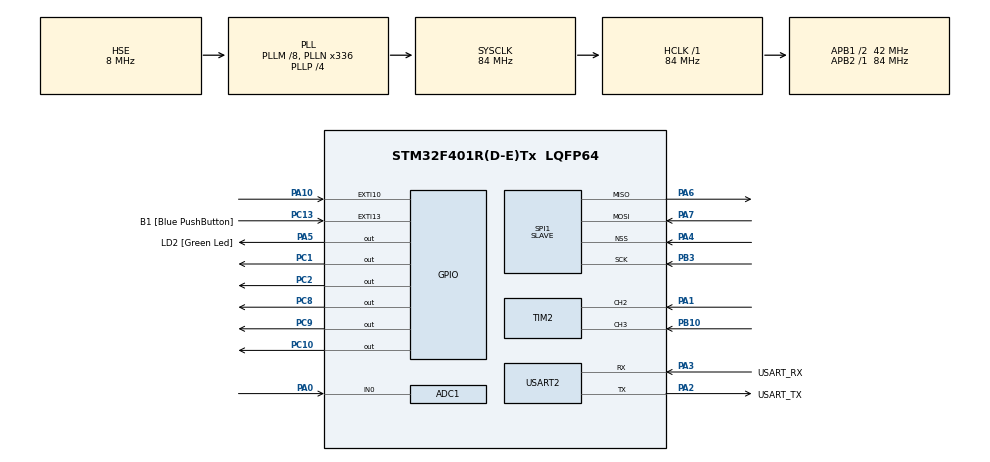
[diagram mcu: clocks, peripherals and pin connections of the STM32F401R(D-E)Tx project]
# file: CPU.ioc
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ADC1.Channel-0\#ChannelRegularConversion=ADC_CHANNEL_0
ADC1.Channel-27\#ChannelRegularConversion=ADC_CHANNEL_0
ADC1.ClockPrescaler=ADC_CLOCK_SYNC_PCLK_DIV4
ADC1.ContinuousConvMode=DISABLE
ADC1.DMAContinuousRequests=ENABLE
ADC1.DataAlign=ADC_DATAALIGN_RIGHT
ADC1.DiscontinuousConvMode=DISABLE
ADC1.EOCSelection=ADC_EOC_SINGLE_CONV
ADC1.EnableAnalogWatchDog=false
ADC1.ExternalTrigConv=ADC_SOFTWARE_START
ADC1.ExternalTrigConvEdge=ADC_EXTERNALTRIGCONVEDGE_NONE
ADC1.InjNumberOfConversion=0
ADC1.NbrOfConversion=2
ADC1.NbrOfConversionFlag=1
ADC1.Rank-0\#ChannelRegularConversion=1
ADC1.Rank-27\#ChannelRegularConversion=2
ADC1.Resolution=ADC_RESOLUTION_12B
ADC1.SamplingTime-0\#ChannelRegularConversion=ADC_SAMPLETIME_3CYCLES
ADC1.SamplingTime-27\#ChannelRegularConversion=ADC_SAMPLETIME_3CYCLES
ADC1.ScanConvMode=DISABLE
ADC1.master=1
Dma.ADC1.0.Direction=DMA_PERIPH_TO_MEMORY
Dma.ADC1.0.FIFOMode=DMA_FIFOMODE_DISABLE
Dma.ADC1.0.Instance=DMA2_Stream0
Dma.ADC1.0.MemDataAlignment=DMA_MDATAALIGN_HALFWORD
Dma.ADC1.0.MemInc=DMA_MINC_ENABLE
Dma.ADC1.0.Mode=DMA_NORMAL
Dma.ADC1.0.PeriphDataAlignment=DMA_PDATAALIGN_HALFWORD
Dma.ADC1.0.PeriphInc=DMA_PINC_DISABLE
Dma.ADC1.0.Priority=DMA_PRIORITY_LOW
Dma.Request0=ADC1
Dma.Request1=SPI1_RX
Dma.Request2=SPI1_TX
Dma.SPI1_RX.1.Direction=DMA_PERIPH_TO_MEMORY
Dma.SPI1_RX.1.FIFOMode=DMA_FIFOMODE_DISABLE
Dma.SPI1_RX.1.Instance=DMA2_Stream2
Dma.SPI1_RX.1.MemDataAlignment=DMA_MDATAALIGN_HALFWORD
Dma.SPI1_RX.1.MemInc=DMA_MINC_ENABLE
Dma.SPI1_RX.1.Mode=DMA_NORMAL
Dma.SPI1_RX.1.PeriphDataAlignment=DMA_PDATAALIGN_HALFWORD
Dma.SPI1_RX.1.PeriphInc=DMA_PINC_DISABLE
Dma.SPI1_RX.1.Priority=DMA_PRIORITY_LOW
Dma.SPI1_TX.2.Direction=DMA_MEMORY_TO_PERIPH
Dma.SPI1_TX.2.FIFOMode=DMA_FIFOMODE_DISABLE
Dma.SPI1_TX.2.Instance=DMA2_Stream3
Dma.SPI1_TX.2.MemDataAlignment=DMA_MDATAALIGN_HALFWORD
Dma.SPI1_TX.2.MemInc=DMA_MINC_ENABLE
Dma.SPI1_TX.2.Mode=DMA_NORMAL
Dma.SPI1_TX.2.PeriphDataAlignment=DMA_PDATAALIGN_HALFWORD
Dma.SPI1_TX.2.PeriphInc=DMA_PINC_DISABLE
Dma.SPI1_TX.2.Priority=DMA_PRIORITY_LOW
Mcu.Family=STM32F4
Mcu.Name=STM32F401R(D-E)Tx
Mcu.Package=LQFP64
NVIC.DMA2_Stream0_IRQn=true\:0\:0\:false\:false\:true\:false
NVIC.DMA2_Stream2_IRQn=true\:0\:0\:false\:false\:true\:false
NVIC.DMA2_Stream3_IRQn=true\:0\:0\:false\:false\:true\:false
NVIC.EXTI15_10_IRQn=true\:0\:0\:false\:false\:true\:true
NVIC.PriorityGroup=NVIC_PRIORITYGROUP_0
NVIC.TIM2_IRQn=true\:0\:0\:false\:false\:true\:true
NVIC.TIM5_IRQn=true\:0\:0\:false\:false\:true\:true
PA0-WKUP.Signal=ADCx_IN0
PA1.Signal=S_TIM2_CH2
PA10.Signal=GPXTI10
PA2.GPIO_Label=USART_TX
PA2.GPIO_Mode=GPIO_MODE_AF_PP
PA2.GPIO_PuPd=GPIO_NOPULL
PA2.GPIO_Speed=GPIO_SPEED_FREQ_LOW
PA2.Mode=Asynchronous
PA2.Signal=USART2_TX
PA3.GPIO_Label=USART_RX
PA3.GPIO_Mode=GPIO_MODE_AF_PP
PA3.GPIO_PuPd=GPIO_NOPULL
PA3.GPIO_Speed=GPIO_SPEED_FREQ_LOW
PA3.Mode=Asynchronous
PA3.Signal=USART2_RX
PA4.Mode=NSS_Signal_Hard_Input
PA4.Signal=SPI1_NSS
PA5.GPIO_Label=LD2 [Green Led]
PA5.GPIO_Mode=GPIO_MODE_OUTPUT_PP
PA5.GPIO_PuPd=GPIO_NOPULL
PA5.GPIO_Speed=GPIO_SPEED_FREQ_LOW
PA5.Signal=GPIO_Output
PA6.Mode=Full_Duplex_Slave
PA6.Signal=SPI1_MISO
PA7.Mode=Full_Duplex_Slave
PA7.Signal=SPI1_MOSI
PB10.Signal=S_TIM2_CH3
PB3.Mode=Full_Duplex_Slave
PB3.Signal=SPI1_SCK
PC1.Signal=GPIO_Output
PC10.Signal=GPIO_Output
PC13-ANTI_TAMP.GPIO_Label=B1 [Blue PushButton]
PC13-ANTI_TAMP.GPIO_ModeDefaultEXTI=GPIO_MODE_IT_FALLING
PC13-ANTI_TAMP.GPIO_PuPd=GPIO_NOPULL
PC13-ANTI_TAMP.Signal=GPXTI13
PC14-OSC32_IN.Mode=LSE-External-Oscillator
PC14-OSC32_IN.Signal=RCC_OSC32_IN
PC15-OSC32_OUT.Mode=LSE-External-Oscillator
PC15-OSC32_OUT.Signal=RCC_OSC32_OUT
PC2.Signal=GPIO_Output
PC8.Signal=GPIO_Output
PC9.Signal=GPIO_Output
PH0\ -\ OSC_IN.Mode=HSE-External-Clock-Source
PH0\ -\ OSC_IN.Signal=RCC_OSC_IN
PH1\ -\ OSC_OUT.Mode=HSE-External-Clock-Source
PH1\ -\ OSC_OUT.Signal=RCC_OSC_OUT
ProjectManager.HeapSize=0x200
ProjectManager.StackSize=0x400
ProjectManager.TargetToolchain=SW4STM32
RCC.48MHZClocksFreq_Value=48000000
RCC.AHBFreq_Value=84000000
RCC.APB1CLKDivider=RCC_HCLK_DIV2
RCC.APB1Freq_Value=42000000
RCC.APB1TimFreq_Value=84000000
RCC.APB2Freq_Value=84000000
RCC.APB2TimFreq_Value=84000000
RCC.CortexFreq_Value=84000000
RCC.HCLKFreq_Value=84000000
RCC.HSE_VALUE=8000000
RCC.HSI_VALUE=16000000
RCC.PLLM=8
RCC.PLLN=336
RCC.PLLP=RCC_PLLP_DIV4
RCC.PLLQ=7
RCC.PLLSourceVirtual=RCC_PLLSOURCE_HSE
RCC.SYSCLKFreq_VALUE=84000000
RCC.SYSCLKSource=RCC_SYSCLKSOURCE_PLLCLK
RCC.VCOOutputFreq_Value=336000000
SH.ADCx_IN0.0=ADC1_IN0,IN0
SH.S_TIM2_CH2.0=TIM2_CH2,Input_Capture2_from_TI2
SH.S_TIM2_CH3.0=TIM2_CH3,Input_Capture3_from_TI3
SPI1.DataSize=SPI_DATASIZE_16BIT
SPI1.Direction=SPI_DIRECTION_2LINES
SPI1.Mode=SPI_MODE_SLAVE
SPI1.VirtualNSS=VM_NSSHARD
SPI1.VirtualType=VM_SLAVE
TIM2.Channel-Input_Capture2_from_TI2=TIM_CHANNEL_2
TIM2.Channel-Input_Capture3_from_TI3=TIM_CHANNEL_3
USART2.VirtualMode=VM_ASYNC
VP_TIM2_VS_ClockSourceINT.Mode=Internal
VP_TIM5_VS_ClockSourceINT.Mode=Internal
board=NUCLEO-F401RE

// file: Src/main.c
/**
  ******************************************************************************
  * @file           : main.c
  * @brief          : Main program body
  ******************************************************************************
  ** This notice applies to any and all portions of this file
  * that are not between comment pairs USER CODE BEGIN and
  * USER CODE END. Other portions of this file, whether
  * inserted by the user or by software development tools
  * are owned by their respective copyright owners.
  *
  * COPYRIGHT(c) 2018 STMicroelectronics
  *
  * Redistribution and use in source and binary forms, with or without modification,
  * are permitted provided that the following conditions are met:
  *   1. Redistributions of source code must retain the above copyright notice,
  *      this list of conditions and the following disclaimer.
  *   2. Redistributions in binary form must reproduce the above copyright notice,
  *      this list of conditions and the following disclaimer in the documentation
  *      and/or other materials provided with the distribution.
  *   3. Neither the name of STMicroelectronics nor the names of its contributors
  *      may be used to endorse or promote products derived from this software
  *      without specific prior written permission.
  *
  * THIS SOFTWARE IS PROVIDED BY THE COPYRIGHT HOLDERS AND CONTRIBUTORS "AS IS"
  * AND ANY EXPRESS OR IMPLIED WARRANTIES, INCLUDING, BUT NOT LIMITED TO, THE
  * IMPLIED WARRANTIES OF MERCHANTABILITY AND FITNESS FOR A PARTICULAR PURPOSE ARE
  * DISCLAIMED. IN NO EVENT SHALL THE COPYRIGHT HOLDER OR CONTRIBUTORS BE LIABLE
  * FOR ANY DIRECT, INDIRECT, INCIDENTAL, SPECIAL, EXEMPLARY, OR CONSEQUENTIAL
  * DAMAGES (INCLUDING, BUT NOT LIMITED TO, PROCUREMENT OF SUBSTITUTE GOODS OR
  * SERVICES; LOSS OF USE, DATA, OR PROFITS; OR BUSINESS INTERRUPTION) HOWEVER
  * CAUSED AND ON ANY THEORY OF LIABILITY, WHETHER IN CONTRACT, STRICT LIABILITY,
  * OR TORT (INCLUDING NEGLIGENCE OR OTHERWISE) ARISING IN ANY WAY OUT OF THE USE
  * OF THIS SOFTWARE, EVEN IF ADVISED OF THE POSSIBILITY OF SUCH DAMAGE.
  *
  ******************************************************************************
  */
#include "main.h"
#include "stm32f4xx_hal.h"

ADC_HandleTypeDef hadc1;
DMA_HandleTypeDef hdma_adc1;

SPI_HandleTypeDef hspi1;
DMA_HandleTypeDef hdma_spi1_rx;
DMA_HandleTypeDef hdma_spi1_tx;

TIM_HandleTypeDef htim2;
TIM_HandleTypeDef htim5;

UART_HandleTypeDef huart2;

/* USER CODE BEGIN PV */
/* Private variables ---------------------------------------------------------*/
uint16_t ADCReadings[2]; //ADC Readings
uint8_t SPIReadings[1]; //ADC Readings
char message[] = "Hello, World";
uint8_t data_out1=0;
uint8_t completed1 = 1;
uint8_t input = 0;
uint32_t received = 0;

uint8_t sent[4];

/* USER CODE END PV */

void SystemClock_Config(void);
static void MX_GPIO_Init(void);
static void MX_DMA_Init(void);
static void MX_TIM2_Init(void);
static void MX_TIM5_Init(void);
static void MX_USART2_UART_Init(void);
static void MX_ADC1_Init(void);
static void MX_SPI1_Init(void);

/* USER CODE BEGIN PFP */
/* Private function prototypes -----------------------------------------------*/

/* USER CODE END PFP */

int main(void)
{

  /* MCU Configuration----------------------------------------------------------*/

  /* Reset of all peripherals, Initializes the Flash interface and the Systick. */
  HAL_Init();

  /* Configure the system clock */
  SystemClock_Config();

  /* Initialize all configured peripherals */
  MX_GPIO_Init();
  MX_DMA_Init();
  MX_TIM2_Init();
  MX_TIM5_Init();
  MX_USART2_UART_Init();
  MX_ADC1_Init();
  MX_SPI1_Init();
  /* USER CODE BEGIN 2 */

  // Start Timer 5 input captures
  if (HAL_TIM_IC_Start_IT(&htim2, TIM_CHANNEL_2) != HAL_OK)
  {
    _Error_Handler(__FILE__, __LINE__);
  }

  if (HAL_TIM_IC_Start_IT(&htim2, TIM_CHANNEL_3) != HAL_OK)
  {
    _Error_Handler(__FILE__, __LINE__);
  }

  // Start Timer5
  __HAL_TIM_SET_AUTORELOAD(&htim5, 84000000);

  if (HAL_TIM_Base_Start_IT(&htim5) != HAL_OK)
  {
    _Error_Handler(__FILE__, __LINE__);
  }

  SPIReadings[0]=32;

  //start the DMA collecting the data
  //HAL_ADC_Start_DMA(&hadc1, (uint32_t*) ADCReadings, 2);
  sent[0] = 10;
  sent[1] = 20;
  sent[2] = 30;
  sent[3] = 40;

  /* USER CODE END 2 */

  /* Infinite loop */
  /* USER CODE BEGIN WHILE */

  while (1)
  {

	        //HAL_SPI_TransmitReceive_IT(&hspi1, (uint8_t *)&sent, (uint8_t*)&received, HAL_MAX_DELAY);
	        //HAL_SPI_Receive_IT(&hspi1, (uint8_t*)&received,1);
	        //HAL_Delay(20);

	  	  //HAL_SPI_Transmit_IT(&hspi1, (uint8_t*)&sent,4);

	  	  	  //HAL_SPI_Transmit(&hspi1, (uint8_t*)&ADCReadings,2,HAL_MAX_DELAY);

  if (completed1==1){
	  completed1 = 0;
	  HAL_SPI_Transmit_DMA(&hspi1, (uint16_t*)&ADCReadings, 2);
  }

  HAL_Delay(500);

  /* USER CODE END WHILE */

  }

}

void SystemClock_Config(void)
{

  RCC_OscInitTypeDef RCC_OscInitStruct;
  RCC_ClkInitTypeDef RCC_ClkInitStruct;

    /**Configure the main internal regulator output voltage
    */
  __HAL_RCC_PWR_CLK_ENABLE();

  __HAL_PWR_VOLTAGESCALING_CONFIG(PWR_REGULATOR_VOLTAGE_SCALE2);

    /**Initializes the CPU, AHB and APB busses clocks
    */
  RCC_OscInitStruct.OscillatorType = RCC_OSCILLATORTYPE_HSE;
  RCC_OscInitStruct.HSEState = RCC_HSE_BYPASS;
  RCC_OscInitStruct.PLL.PLLState = RCC_PLL_ON;
  RCC_OscInitStruct.PLL.PLLSource = RCC_PLLSOURCE_HSE;
  RCC_OscInitStruct.PLL.PLLM = 8;
  RCC_OscInitStruct.PLL.PLLN = 336;
  RCC_OscInitStruct.PLL.PLLP = RCC_PLLP_DIV4;
  RCC_OscInitStruct.PLL.PLLQ = 7;
  if (HAL_RCC_OscConfig(&RCC_OscInitStruct) != HAL_OK)
  {
    _Error_Handler(__FILE__, __LINE__);
  }

    /**Initializes the CPU, AHB and APB busses clocks
    */
  RCC_ClkInitStruct.ClockType = RCC_CLOCKTYPE_HCLK|RCC_CLOCKTYPE_SYSCLK
                              |RCC_CLOCKTYPE_PCLK1|RCC_CLOCKTYPE_PCLK2;
  RCC_ClkInitStruct.SYSCLKSource = RCC_SYSCLKSOURCE_PLLCLK;
  RCC_ClkInitStruct.AHBCLKDivider = RCC_SYSCLK_DIV1;
  RCC_ClkInitStruct.APB1CLKDivider = RCC_HCLK_DIV2;
  RCC_ClkInitStruct.APB2CLKDivider = RCC_HCLK_DIV1;

  if (HAL_RCC_ClockConfig(&RCC_ClkInitStruct, FLASH_LATENCY_2) != HAL_OK)
  {
    _Error_Handler(__FILE__, __LINE__);
  }

    /**Configure the Systick interrupt time
    */
  HAL_SYSTICK_Config(HAL_RCC_GetHCLKFreq()/1000);

    /**Configure the Systick
    */
  HAL_SYSTICK_CLKSourceConfig(SYSTICK_CLKSOURCE_HCLK);

  /* SysTick_IRQn interrupt configuration */
  HAL_NVIC_SetPriority(SysTick_IRQn, 0, 0);
}

/* ADC1 init function */
static void MX_ADC1_Init(void)
{

  ADC_ChannelConfTypeDef sConfig;

    /**Configure the global features of the ADC (Clock, Resolution, Data Alignment and number of conversion)
    */
  hadc1.Instance = ADC1;
  hadc1.Init.ClockPrescaler = ADC_CLOCK_SYNC_PCLK_DIV4;
  hadc1.Init.Resolution = ADC_RESOLUTION_12B;
  hadc1.Init.ScanConvMode = DISABLE;
  hadc1.Init.ContinuousConvMode = DISABLE;
  hadc1.Init.DiscontinuousConvMode = DISABLE;
  hadc1.Init.ExternalTrigConvEdge = ADC_EXTERNALTRIGCONVEDGE_NONE;
  hadc1.Init.ExternalTrigConv = ADC_SOFTWARE_START;
  hadc1.Init.DataAlign = ADC_DATAALIGN_RIGHT;
  hadc1.Init.NbrOfConversion = 2;
  hadc1.Init.DMAContinuousRequests = ENABLE;
  hadc1.Init.EOCSelection = ADC_EOC_SINGLE_CONV;
  if (HAL_ADC_Init(&hadc1) != HAL_OK)
  {
    _Error_Handler(__FILE__, __LINE__);
  }

    /**Configure for the selected ADC regular channel its corresponding rank in the sequencer and its sample time.
    */
  sConfig.Channel = ADC_CHANNEL_0;
  sConfig.Rank = 1;
  sConfig.SamplingTime = ADC_SAMPLETIME_3CYCLES;
  if (HAL_ADC_ConfigChannel(&hadc1, &sConfig) != HAL_OK)
  {
    _Error_Handler(__FILE__, __LINE__);
  }

    /**Configure for the selected ADC regular channel its corresponding rank in the sequencer and its sample time.
    */
  sConfig.Rank = 2;
  if (HAL_ADC_ConfigChannel(&hadc1, &sConfig) != HAL_OK)
  {
    _Error_Handler(__FILE__, __LINE__);
  }

}

/* SPI1 init function */
static void MX_SPI1_Init(void)
{

  /* SPI1 parameter configuration*/
  hspi1.Instance = SPI1;
  hspi1.Init.Mode = SPI_MODE_SLAVE;
  hspi1.Init.Direction = SPI_DIRECTION_2LINES;
  hspi1.Init.DataSize = SPI_DATASIZE_16BIT;
  hspi1.Init.CLKPolarity = SPI_POLARITY_LOW;
  hspi1.Init.CLKPhase = SPI_PHASE_1EDGE;
  hspi1.Init.NSS = SPI_NSS_HARD_INPUT;
  hspi1.Init.FirstBit = SPI_FIRSTBIT_MSB;
  hspi1.Init.TIMode = SPI_TIMODE_DISABLE;
  hspi1.Init.CRCCalculation = SPI_CRCCALCULATION_DISABLE;
  hspi1.Init.CRCPolynomial = 10;
  if (HAL_SPI_Init(&hspi1) != HAL_OK)
  {
    _Error_Handler(__FILE__, __LINE__);
  }

}

/* TIM2 init function */
static void MX_TIM2_Init(void)
{

  TIM_ClockConfigTypeDef sClockSourceConfig;
  TIM_MasterConfigTypeDef sMasterConfig;
  TIM_IC_InitTypeDef sConfigIC;

  htim2.Instance = TIM2;
  htim2.Init.Prescaler = 0;
  htim2.Init.CounterMode = TIM_COUNTERMODE_UP;
  htim2.Init.Period = 0;
  htim2.Init.ClockDivision = TIM_CLOCKDIVISION_DIV1;
  if (HAL_TIM_Base_Init(&htim2) != HAL_OK)
  {
    _Error_Handler(__FILE__, __LINE__);
  }

  sClockSourceConfig.ClockSource = TIM_CLOCKSOURCE_INTERNAL;
  if (HAL_TIM_ConfigClockSource(&htim2, &sClockSourceConfig) != HAL_OK)
  {
    _Error_Handler(__FILE__, __LINE__);
  }

  if (HAL_TIM_IC_Init(&htim2) != HAL_OK)
  {
    _Error_Handler(__FILE__, __LINE__);
  }

  sMasterConfig.MasterOutputTrigger = TIM_TRGO_RESET;
  sMasterConfig.MasterSlaveMode = TIM_MASTERSLAVEMODE_DISABLE;
  if (HAL_TIMEx_MasterConfigSynchronization(&htim2, &sMasterConfig) != HAL_OK)
  {
    _Error_Handler(__FILE__, __LINE__);
  }

  sConfigIC.ICPolarity = TIM_INPUTCHANNELPOLARITY_RISING;
  sConfigIC.ICSelection = TIM_ICSELECTION_DIRECTTI;
  sConfigIC.ICPrescaler = TIM_ICPSC_DIV1;
  sConfigIC.ICFilter = 0;
  if (HAL_TIM_IC_ConfigChannel(&htim2, &sConfigIC, TIM_CHANNEL_2) != HAL_OK)
  {
    _Error_Handler(__FILE__, __LINE__);
  }

  if (HAL_TIM_IC_ConfigChannel(&htim2, &sConfigIC, TIM_CHANNEL_3) != HAL_OK)
  {
    _Error_Handler(__FILE__, __LINE__);
  }

}

/* TIM5 init function */
static void MX_TIM5_Init(void)
{

  TIM_ClockConfigTypeDef sClockSourceConfig;
  TIM_MasterConfigTypeDef sMasterConfig;

  htim5.Instance = TIM5;
  htim5.Init.Prescaler = 0;
  htim5.Init.CounterMode = TIM_COUNTERMODE_UP;
  htim5.Init.Period = 0;
  htim5.Init.ClockDivision = TIM_CLOCKDIVISION_DIV1;
  if (HAL_TIM_Base_Init(&htim5) != HAL_OK)
  {
    _Error_Handler(__FILE__, __LINE__);
  }

  sClockSourceConfig.ClockSource = TIM_CLOCKSOURCE_INTERNAL;
  if (HAL_TIM_ConfigClockSource(&htim5, &sClockSourceConfig) != HAL_OK)
  {
    _Error_Handler(__FILE__, __LINE__);
  }

  sMasterConfig.MasterOutputTrigger = TIM_TRGO_RESET;
  sMasterConfig.MasterSlaveMode = TIM_MASTERSLAVEMODE_DISABLE;
  if (HAL_TIMEx_MasterConfigSynchronization(&htim5, &sMasterConfig) != HAL_OK)
  {
    _Error_Handler(__FILE__, __LINE__);
  }

}

/* USART2 init function */
static void MX_USART2_UART_Init(void)
{

  huart2.Instance = USART2;
  huart2.Init.BaudRate = 115200;
  huart2.Init.WordLength = UART_WORDLENGTH_8B;
  huart2.Init.StopBits = UART_STOPBITS_1;
  huart2.Init.Parity = UART_PARITY_NONE;
  huart2.Init.Mode = UART_MODE_TX_RX;
  huart2.Init.HwFlowCtl = UART_HWCONTROL_NONE;
  huart2.Init.OverSampling = UART_OVERSAMPLING_16;
  if (HAL_UART_Init(&huart2) != HAL_OK)
  {
    _Error_Handler(__FILE__, __LINE__);
  }

}

static void MX_DMA_Init(void)
{
  /* DMA controller clock enable */
  __HAL_RCC_DMA2_CLK_ENABLE();

  /* DMA interrupt init */
  /* DMA2_Stream0_IRQn interrupt configuration */
  HAL_NVIC_SetPriority(DMA2_Stream0_IRQn, 0, 0);
  HAL_NVIC_EnableIRQ(DMA2_Stream0_IRQn);
  /* DMA2_Stream2_IRQn interrupt configuration */
  HAL_NVIC_SetPriority(DMA2_Stream2_IRQn, 0, 0);
  HAL_NVIC_EnableIRQ(DMA2_Stream2_IRQn);
  /* DMA2_Stream3_IRQn interrupt configuration */
  HAL_NVIC_SetPriority(DMA2_Stream3_IRQn, 0, 0);
  HAL_NVIC_EnableIRQ(DMA2_Stream3_IRQn);

}

/** Configure pins as
        * Analog
        * Input
        * Output
        * EVENT_OUT
        * EXTI
*/
static void MX_GPIO_Init(void)
{

  GPIO_InitTypeDef GPIO_InitStruct;

  /* GPIO Ports Clock Enable */
  __HAL_RCC_GPIOC_CLK_ENABLE();
  __HAL_RCC_GPIOH_CLK_ENABLE();
  __HAL_RCC_GPIOA_CLK_ENABLE();
  __HAL_RCC_GPIOB_CLK_ENABLE();

  /*Configure GPIO pin Output Level */
  HAL_GPIO_WritePin(GPIOC, GPIO_PIN_1|GPIO_PIN_2|GPIO_PIN_8|GPIO_PIN_9
                          |GPIO_PIN_10, GPIO_PIN_RESET);

  /*Configure GPIO pin Output Level */
  HAL_GPIO_WritePin(LD2_GPIO_Port, LD2_Pin, GPIO_PIN_RESET);

  /*Configure GPIO pin : B1_Pin */
  GPIO_InitStruct.Pin = B1_Pin;
  GPIO_InitStruct.Mode = GPIO_MODE_IT_FALLING;
  GPIO_InitStruct.Pull = GPIO_NOPULL;
  HAL_GPIO_Init(B1_GPIO_Port, &GPIO_InitStruct);

  /*Configure GPIO pins : PC1 PC2 PC8 PC9
                           PC10 */
  GPIO_InitStruct.Pin = GPIO_PIN_1|GPIO_PIN_2|GPIO_PIN_8|GPIO_PIN_9
                          |GPIO_PIN_10;
  GPIO_InitStruct.Mode = GPIO_MODE_OUTPUT_PP;
  GPIO_InitStruct.Pull = GPIO_NOPULL;
  GPIO_InitStruct.Speed = GPIO_SPEED_FREQ_LOW;
  HAL_GPIO_Init(GPIOC, &GPIO_InitStruct);

  /*Configure GPIO pin : LD2_Pin */
  GPIO_InitStruct.Pin = LD2_Pin;
  GPIO_InitStruct.Mode = GPIO_MODE_OUTPUT_PP;
  GPIO_InitStruct.Pull = GPIO_NOPULL;
  GPIO_InitStruct.Speed = GPIO_SPEED_FREQ_LOW;
  HAL_GPIO_Init(LD2_GPIO_Port, &GPIO_InitStruct);

  /*Configure GPIO pin : PA10 */
  GPIO_InitStruct.Pin = GPIO_PIN_10;
  GPIO_InitStruct.Mode = GPIO_MODE_IT_RISING;
  GPIO_InitStruct.Pull = GPIO_NOPULL;
  HAL_GPIO_Init(GPIOA, &GPIO_InitStruct);

  /* EXTI interrupt init*/
  HAL_NVIC_SetPriority(EXTI15_10_IRQn, 0, 0);
  HAL_NVIC_EnableIRQ(EXTI15_10_IRQn);

}

void _Error_Handler(char *file, int line)
{
  while(1)
  {
  }
}

/************************ (C) COPYRIGHT STMicroelectronics *****END OF FILE****/
